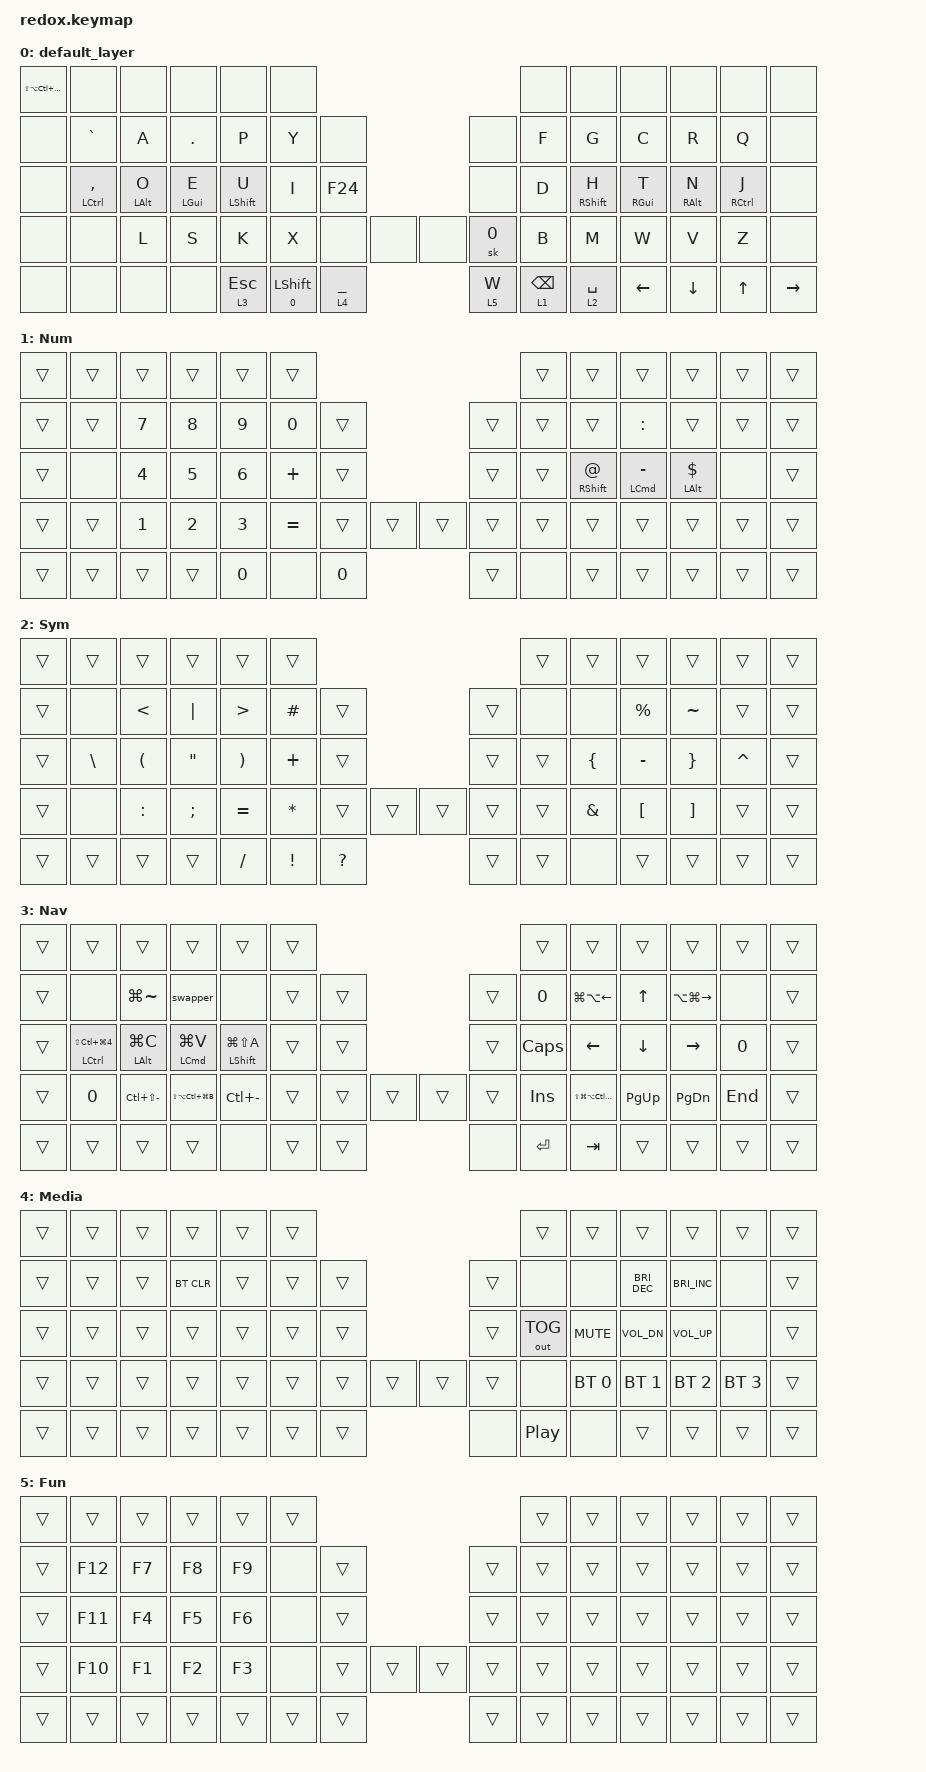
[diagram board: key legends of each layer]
/*
 * Copyright (c) 2021 The ZMK Contributors
 *
 * SPDX-License-Identifier: MIT
 */

#include "dk_behaviors.dtsi"
#include <behaviors.dtsi>
#include <dt-bindings/zmk/bt.h>
#include <dt-bindings/zmk/keys.h>
#include <dt-bindings/zmk/outputs.h>

/ {
    behaviors {
        hm_l: hm_l {
            compatible = "zmk,behavior-hold-tap";
            label = "DUMMY";
            bindings = <&kp>, <&kp>;

            #binding-cells = <2>;
            tapping-term-ms = <3333>;
        };

        hm_r: hm_r {
            compatible = "zmk,behavior-hold-tap";
            label = "DUMMY2";
            bindings = <&kp>, <&kp>;

            #binding-cells = <2>;
            tapping-term-ms = <3333>;
        };

        hm_shift_l: hm_shift_l {
            compatible = "zmk,behavior-hold-tap";
            label = "DUMMY3";
            bindings = <&kp>, <&kp>;

            #binding-cells = <2>;
            tapping-term-ms = <3333>;
        };

        hm_shift_r: hm_shift_r {
            compatible = "zmk,behavior-hold-tap";
            label = "DUMMY4";
            bindings = <&kp>, <&kp>;

            #binding-cells = <2>;
            tapping-term-ms = <3333>;
        };

        swapper: dummyswapper {
            compatible = "zmk,behavior-caps-word";
            label = "DUMMYSWAPPER";
            #binding-cells = <0>;
            continue-list = <E>;
        };

        cappy: cappy {
            compatible = "zmk,behavior-hold-tap";
            label = "CAPPY";
            bindings = <&kp>, <&sk>;

            #binding-cells = <2>;
            tapping-term-ms = <100>;
        };
    };

    keymap {
        compatible = "zmk,keymap";

        default_layer {
            // --------------------------------------------------------------------------------------------------------------------------------
            // | ESC   |  1  |  2  |   3   |  4  |  5  |                   ---                |  6    |  7    |  8    |  9   | 0  |    BKSP   |
            // | TAB   |  Q  |  W  |   E   |  R  |  T  |   (   |           ---        |  )    |  Y    |  U    |  I    |  O   | P  |     -     |
            // | CTRL  |  A  |  S  |   D   |  F  |  G  |   [   |           ---        |  ]    |  H    |  J    |  K    |  L   | ;  |     '     |
            // | SHIFT |  Z  |  X  |   C   |  V  |  B  | PG_UP | PG_DOWN | --- | HOME | END   |  N    |  M    |  ,    |  .   | /  | SHFT(RET) |
            // | CRTL  | ALT | GUI | LOWER |    GUI    | LOWER | SPACE   | --- | DEL  | SPACE |     RAISE     | LEFT  | DOWN | UP |   RIGHT   |

            bindings = <
&kp LS(LA(LC(LG(M))))  &none                     &none             &none             &none               &none                                                           &none            &none                &none              &none              &none                  &none
&none                  &kp GRAVE                 &kp A             &kp PERIOD        &kp P               &kp Y                       &none                      &none    &kp F            &kp G                &kp C              &kp R              &kp Q                  &none
&none                  &hm_l LEFT_CONTROL COMMA  &hm_l LEFT_ALT O  &hm_l LEFT_GUI E  &hm_l LEFT_SHIFT U  &kp I                       &kp F24                    &none    &kp D            &hm_r RIGHT_SHIFT H  &hm_r RIGHT_GUI T  &hm_r RIGHT_ALT N  &hm_r RIGHT_CONTROL J  &none
&none                  &none                     &kp L             &kp S             &kp K               &kp X                       &none        &none  &none  &sk 0    &kp B            &kp M                &kp W              &kp V              &kp Z                  &none
&none                  &none                     &none             &none             &lt 3 ESCAPE        &cappy NUMBER_0 LEFT_SHIFT  &lt 4 UNDER                &lt 5 W  &lt 1 BACKSPACE  &lt 2 SPACE          &kp LEFT           &kp DOWN_ARROW     &kp UP_ARROW           &kp RIGHT
            >;
        };

        Num {
            // --------------------------------------------------------------------------------------------------------------------------
            // | ESC   |  1  |  2  |   3   |   4   |  5  |                   ---              |  6  |  7  |   8  |  9   |  0  |  DEL  |
            // | ESC   |  1  |  2  |   3   |   4   |  5  |   (   |           ---        |  )  |  6  |  7  |   8  |  9   |  0  |  DEL  |
            // | CTRL  |  -  |  =  |   [   |   ]   |  \  |   [   |           ---        |  ]  |  *  |  4  |   5  |  6   |  +  |   -   |
            // | SHIFT | ESC | GUI | COPY  | PASTE |     | PG_UP | PG_DOWN | --- | HOME | END |  \  |  1  |   2  |  3   | RET |  RET  |
            // | CRTL  | ALT | GUI | LOWER |     GUI     | LOWER | SPACE   | --- | DEL  |  0  |    RAISE  | LEFT | DOWN | UP  | RIGHT |

            bindings = <
&trans  &trans  &trans        &trans        &trans        &trans                                     &trans  &trans                &trans                    &trans                 &trans  &trans
&trans  &trans  &kp NUMBER_7  &kp NUMBER_8  &kp NUMBER_9  &kp 0      &trans                  &trans  &trans  &trans                &kp COLON                 &trans                 &trans  &trans
&trans  &none   &kp NUMBER_4  &kp NUMBER_5  &kp NUMBER_6  &kp PLUS   &trans                  &trans  &trans  &hm_r RIGHT_SHIFT AT  &hm_r LEFT_COMMAND MINUS  &hm_r LEFT_ALT DOLLAR  &none   &trans
&trans  &trans  &kp NUMBER_1  &kp NUMBER_2  &kp NUMBER_3  &kp EQUAL  &trans  &trans  &trans  &trans  &trans  &trans                &trans                    &trans                 &trans  &trans
&trans  &trans  &trans        &trans        &kp NUMBER_0  &none      &kp 0                   &trans  &none   &trans                &trans                    &trans                 &trans  &trans
            >;
        };

        Sym {
            // ----------------------------------------------------------------------------------------------------------------------------
            // | ESC   |  1  |  2  |   3   |  4  |  5  |                   ---                |  6   |  7   |  8   |  9   |  0    |  DEL  |
            // | ESC   |  !  |  @  |   #   |  $  |  %  |   (   |           ---        |  )    |  ^   |  &   |  *   |  (   |  )    |  DEL  |
            // | CTRL  |  _  |  +  |   {   |  }  | "|" |   [   |           ---        |  ]    | HOME | PGUP | PRSC | UP   |  `    |   ~   |
            // | SHIFT | ESC | GUI |   (   |  )  |     | PG_UP | PG_DOWN | --- | HOME | END   | END  | PGDN | LEFT | DOWN | RIGHT |  RET  |
            // | CRTL  | ALT | GUI | LOWER |    GUI    | LOWER | SPACE   | --- | DEL  | SPACE |    RAISE    | LEFT | DOWN | UP    | RIGHT |

            bindings = <
&trans  &trans         &trans                &trans             &trans                 &trans                                              &trans  &trans          &trans            &trans             &trans     &trans
&trans  &none          &kp LESS_THAN         &kp PIPE           &kp GREATER_THAN       &kp POUND     &trans                        &trans  &none   &none           &kp PERCENT       &kp TILDE          &trans     &trans
&trans  &kp BACKSLASH  &kp LEFT_PARENTHESIS  &kp DOUBLE_QUOTES  &kp RIGHT_PARENTHESIS  &kp PLUS      &trans                        &trans  &trans  &kp LEFT_BRACE  &kp MINUS         &kp RIGHT_BRACE    &kp CARET  &trans
&trans  &none          &kp COLON             &kp SEMICOLON      &kp EQUAL              &kp ASTERISK  &trans        &trans  &trans  &trans  &trans  &kp AMPERSAND   &kp LEFT_BRACKET  &kp RIGHT_BRACKET  &trans     &trans
&trans  &trans         &trans                &trans             &kp SLASH              &kp EXCL      &kp QUESTION                  &trans  &trans  &none           &trans            &trans             &trans     &trans
            >;
        };

        Nav {
            // -----------------------------------------------------------------------------------------
            // |  F1   |  F2   |    F3    |    F4     |     F5     | F6 |                   ---                | F7  | F8  |  F9  |  F10 | F11 | F12        |
            // | TAB   |       |          |           |            |    | BOOTL |           ---        |  )    | BT1 | BT2 |  BT3 |  BT4 | BT5 | OUTPUT TGL |
            // | CTRL  | MUTE  |  Vol Dn  |  Vol Up   | Play/Pause |    | RESET |           ---        |  ]    | F1  | F2  |  F3  |  F4  | F5  | F6         |
            // | SHIFT | PSCRN |  PSCRN   |   CAPS    |            |    | PG_UP | PG_DOWN | --- | HOME | END   | F7  | F8  |  F9  |  F10 | F11 | F12        |
            // | CRTL  | ALT   |  GUI     |   LOWER   |      GUI        | LOWER | SPACE   | --- | DEL  | SPACE |   RAISE   | LEFT | DOWN | UP  |   RIGHT    |

            bindings = <
&trans  &trans                                   &trans                &trans                    &trans                      &trans                                  &trans        &trans                  &trans        &trans             &trans   &trans
&trans  &none                                    &kp LG(TILDE)         &swapper                  &none                       &trans  &trans                  &trans  &kp 0         &kp LG(LA(LEFT))        &kp UP_ARROW  &kp LA(LG(RIGHT))  &none    &trans
&trans  &hm_l LEFT_CONTROL LS(LC(LG(NUMBER_4)))  &hm_l LEFT_ALT LG(C)  &hm_l LEFT_COMMAND LG(V)  &hm_l LEFT_SHIFT LG(LS(A))  &trans  &trans                  &trans  &kp CAPSLOCK  &kp LEFT                &kp DOWN      &kp RIGHT          &kp 0    &trans
&trans  &kp 0                                    &kp LC(LS(MINUS))     &kp LS(LA(LC(LG(B))))     &kp LC(MINUS)               &trans  &trans  &trans  &trans  &trans  &kp INSERT    &kp LS(LG(LA(LC(F4))))  &kp PAGE_UP   &kp PAGE_DOWN      &kp END  &trans
&trans  &trans                                   &trans                &trans                    &none                       &trans  &trans                  &none   &kp RET       &kp TAB                 &trans        &trans             &trans   &trans
            >;
        };

        Media {
            bindings = <
&trans  &trans  &trans  &trans      &trans  &trans                                  &trans            &trans        &trans                &trans                &trans        &trans
&trans  &trans  &trans  &bt BT_CLR  &trans  &trans  &trans                  &trans  &none             &none         &kp C_BRIGHTNESS_DEC  &kp C_BRIGHTNESS_INC  &none         &trans
&trans  &trans  &trans  &trans      &trans  &trans  &trans                  &trans  &out OUT_TOG      &kp K_MUTE    &kp C_VOL_DN          &kp C_VOL_UP          &none         &trans
&trans  &trans  &trans  &trans      &trans  &trans  &trans  &trans  &trans  &trans  &none             &bt BT_SEL 0  &bt BT_SEL 1          &bt BT_SEL 2          &bt BT_SEL 3  &trans
&trans  &trans  &trans  &trans      &trans  &trans  &trans                  &none   &kp C_PLAY_PAUSE  &none         &trans                &trans                &trans        &trans
            >;
        };

        Fun {
            bindings = <
&trans  &trans   &trans  &trans  &trans  &trans                                  &trans  &trans  &trans  &trans  &trans  &trans
&trans  &kp F12  &kp F7  &kp F8  &kp F9  &none   &trans                  &trans  &trans  &trans  &trans  &trans  &trans  &trans
&trans  &kp F11  &kp F4  &kp F5  &kp F6  &none   &trans                  &trans  &trans  &trans  &trans  &trans  &trans  &trans
&trans  &kp F10  &kp F1  &kp F2  &kp F3  &none   &trans  &trans  &trans  &trans  &trans  &trans  &trans  &trans  &trans  &trans
&trans  &trans   &trans  &trans  &trans  &trans  &trans                  &trans  &trans  &trans  &trans  &trans  &trans  &trans
            >;
        };
    };
};
